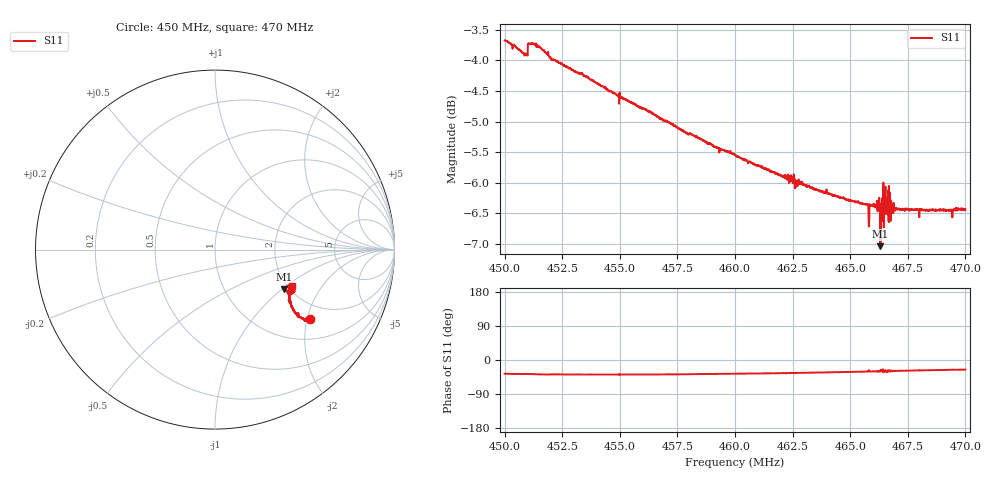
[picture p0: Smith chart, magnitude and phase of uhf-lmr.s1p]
! Calibrated averaged scanner-service zoom
# Hz S RI R 50
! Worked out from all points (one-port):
!   2001 points, 450 MHz to 470 MHz, reference 50 ohm
!   lowest |S11| = -7.0 dB at 466.31 MHz (marker M1), VSWR 2.60, Z = 93.9 - j52 ohm
!   |S11| at or under -10 dB: nowhere
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4.5e8  0.5281 -0.3877
4.5041e8  0.5205 -0.3875
4.509e8  0.5106 -0.3847
4.5111e8  0.5197 -0.3911
4.5155e8  0.5103 -0.3973
4.519e8  0.5015 -0.3942
4.5211e8  0.499 -0.3879
4.525e8  0.4936 -0.3855
4.5404e8  0.473 -0.376
4.55e8  0.4599 -0.3665
4.575e8  0.4394 -0.3409
4.6e8  0.4265 -0.312
4.625e8  0.4163 -0.2843
4.65e8  0.4134 -0.2523
4.6568e8  0.4142 -0.2445
4.6573e8  0.4146 -0.2447
4.6589e8  0.4152 -0.2416
4.6594e8  0.4152 -0.2412
4.662e8  0.4197 -0.2321
4.6631e8  0.3855 -0.222
4.6632e8  0.4098 -0.1981
4.6638e8  0.4332 -0.2217
4.6642e8  0.426 -0.1933
4.6653e8  0.4343 -0.2428
4.6661e8  0.4325 -0.2237
4.6684e8  0.4158 -0.2351
4.675e8  0.4214 -0.2241
4.7e8  0.4313 -0.2034
